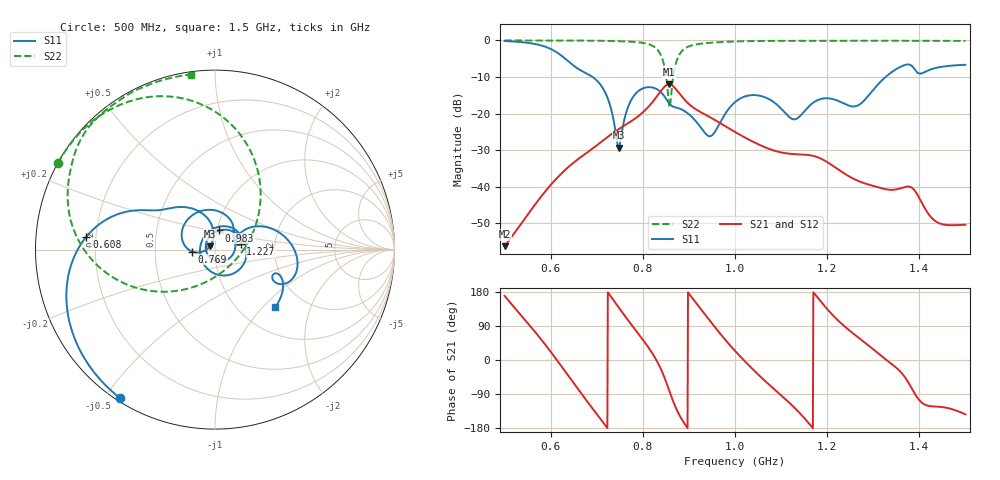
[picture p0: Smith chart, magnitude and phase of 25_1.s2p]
! TOUCHSTONE file generated by CST MICROWAVE STUDIO
! Date and time: Fri Oct  2 18:37:49 2020
! Project name: Scenario_1_Free_Space_out_of_line.cst
! Parameters = {Lambda=346.42; Step_1=17.321; dy1=-68.544; dx1=173; L_HA=400; MT=2.54; Rad_Dielectric=30; Rad_Lower=7.3; Rad_Upper=30; a_HA=580; a_WG=246; b_HA=500; b_WG=121; c_HA=0; c_WG=187; d_feed=85; h_feed=15; h_lower=18; h_upper=40}
! Header version: 2018
! Port assignment regex: !\s*Touchstone port\s*([0-9]+)\s*=\s*(CST MWS port|CST DS port)\s*([0-9]+|Zmin|Zmax)\s*\(\"(.*)\"\)(\s*mode\s*([0-9]+))?.*
! Touchstone port assignment:
! Touchstone port 1 = CST MWS port 1 ("")
! Touchstone port 2 = CST MWS port 2 ("")
# GHz S DB R 50
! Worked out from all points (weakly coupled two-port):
!   1003 points, 500 MHz to 1.5 GHz, reference 50 ohm
!   highest |S21| = -11.98 dB at 857 MHz (marker M1); lowest = -56.2 dB at 500 MHz (marker M2)
!   lowest |S11| = -29.3 dB at 748 MHz (marker M3), VSWR 1.07, Z = 47.1 + j1.72 ohm
!   |S11| at or under -10 dB: 691 MHz to 1.327 GHz (635.6 MHz wide, 63 % of centre)
!   |S22| runs from -18.3 to 0.0 dB; largest |S21 - S12| = 3.2e-05
!   S11 on the Smith chart (normalised r, x): 500 MHz: 0.01, -0.55; 608 MHz: 0.16, +0.05; 769 MHz: 0.77, -0.02; 983 MHz: 1.02, +0.22; 1.227 GHz: 1.33, +0.08; 1.5 GHz: 1.44, -1.18
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0.5  -0.16 -122.7  -56.22 169.2  -56.22 169.2  -0.01 151.1
0.565  -0.95 -156.1  -45.01 76.0  -45.01 76.0  -0.01 146.6
0.608  -2.85 174.2  -38.37 8.8  -38.37 8.8  -0.02 143.4
0.667  -8.31 145.2  -31.72 -89.6  -31.72 -89.6  -0.05 138.2
0.717  -13.90 107.3  -27.01 -169.6  -27.01 -169.6  -0.11 132.5
0.748  -29.29 147.9  -24.20 138.1  -24.20 138.1  -0.20 127.8
0.769  -17.83 -175.3  -22.54 103.2  -22.54 103.2  -0.31 123.5
0.834  -13.59 79.5  -14.68 -10.9  -14.68 -10.9  -2.89 84.1
0.857  -17.18 41.5  -11.98 -79.8  -11.98 -79.8  -17.77 -24.2
0.869  -18.23 30.1  -12.91 -118.7  -12.91 -118.7  -7.64 -146.0
0.891  -19.34 -6.0  -16.26 -169.1  -16.26 -169.1  -2.22 174.6
0.945  -26.19 -155.7  -20.93 104.4  -20.93 104.4  -0.66 149.6
0.983  -19.26 78.5  -23.74 47.5  -23.74 47.5  -0.36 142.8
1  -16.87 44.5  -25.01 24.2  -25.01 24.2  -0.28 140.3
1.079  -16.43 -73.1  -29.86 -70.4  -29.86 -70.4  -0.13 131.4
1.128  -21.57 174.6  -31.06 -124.6  -31.06 -124.6  -0.11 127.1
1.167  -17.27 72.2  -31.47 -176.9  -31.47 -176.9  -0.11 124.1
1.227  -16.68 12.1  -35.51 100.5  -35.51 100.5  -0.08 119.5
1.268  -17.68 23.9  -38.43 59.2  -38.43 59.2  -0.08 116.4
1.334  -9.23 18.9  -40.78 -4.7  -40.78 -4.7  -0.09 111.4
1.381  -6.73 -20.6  -40.06 -69.2  -40.06 -69.2  -0.10 107.7
1.5  -6.66 -43.7  -50.36 -143.3  -50.43 -142.9  -0.14 97.8
